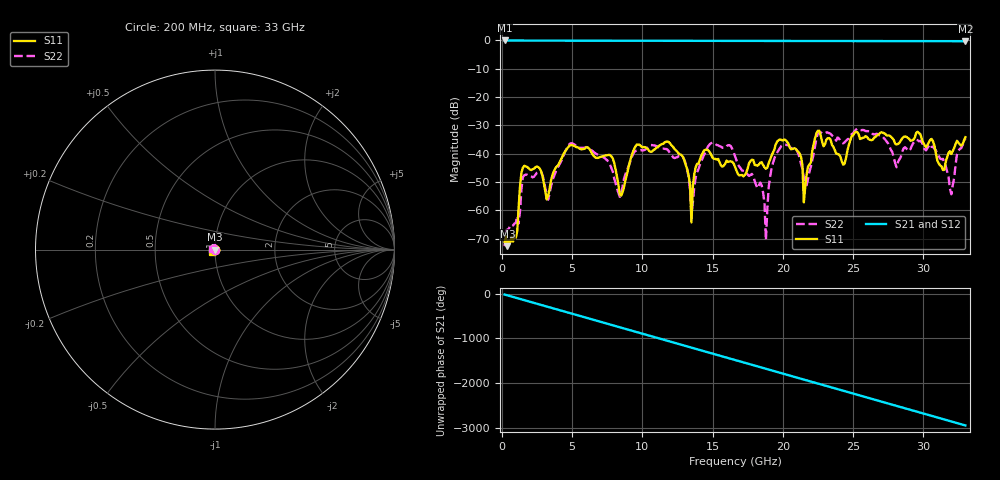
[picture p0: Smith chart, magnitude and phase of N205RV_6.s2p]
# GHZ S RI R 50
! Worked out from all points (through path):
!   329 points, 200 MHz to 33 GHz, reference 50 ohm
!   highest |S21| = -0.02 dB at 200 MHz (marker M1); lowest = -0.3 dB at 33 GHz (marker M2)
!   group delay of S21, straight-line fit = 248 ps
!   lowest |S11| = -72.6 dB at 400 MHz (marker M3), VSWR 1.00, Z = 50 - j0.00687 ohm
!   |S11| at or under -10 dB: start of sweep to end of sweep
!   |S22| runs from -72.6 to -31.2 dB; largest |S21 - S12| = 0.0019
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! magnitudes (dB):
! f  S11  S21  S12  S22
! 200 MHz  -71.2  0.0  0.0  -72.6
! 400 MHz  -72.6  0.0  0.0  -66.8
! 1.6 GHz  -44.3  -0.1  -0.1  -47.6
! 3.2 GHz  -56.2  -0.1  -0.1  -54.4
! 5.7 GHz  -38.5  -0.1  -0.1  -37.9
! 8.4 GHz  -54.3  -0.1  -0.1  -55.2
! 11.2 GHz  -37.2  -0.2  -0.2  -37.8
! 12.9 GHz  -41.2  -0.2  -0.2  -41.2
! 13.5 GHz  -64.3  -0.2  -0.2  -61.2
! 13.7 GHz  -47.3  -0.2  -0.2  -51.7
! 14.4 GHz  -38.9  -0.2  -0.2  -40.3
! 16.6 GHz  -44.6  -0.2  -0.2  -40.8
! 18.5 GHz  -43.0  -0.2  -0.2  -51.2
! 18.8 GHz  -45.3  -0.2  -0.2  -70.5
! 19.5 GHz  -36.7  -0.2  -0.2  -40.4
! 21.2 GHz  -39.9  -0.2  -0.2  -41.5
! 21.5 GHz  -57.2  -0.2  -0.2  -48.3
! 22.1 GHz  -39.0  -0.2  -0.2  -42.3
! 27.6 GHz  -33.6  -0.2  -0.2  -37.6
! 30.5 GHz  -35.0  -0.3  -0.3  -36.7
! 32 GHz  -40.1  -0.3  -0.3  -54.3
! 33 GHz  -34.2  -0.3  -0.3  -34.6
